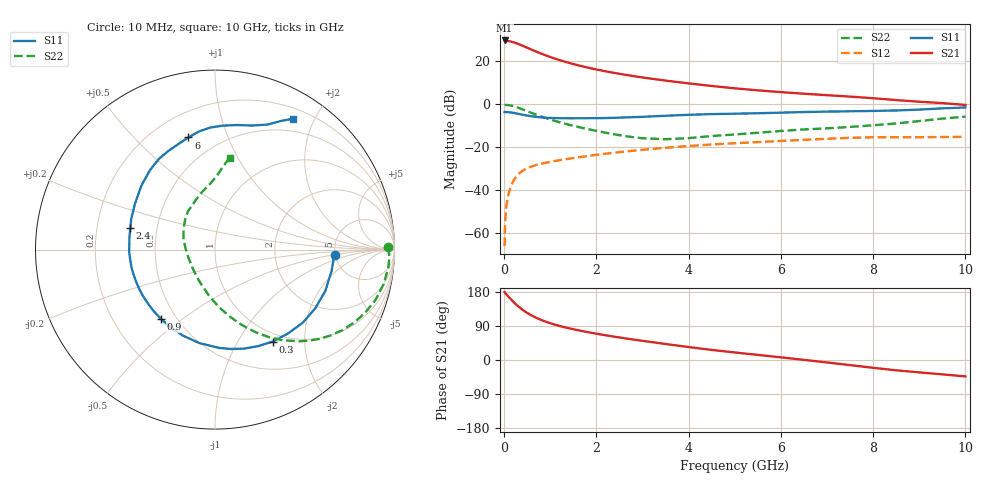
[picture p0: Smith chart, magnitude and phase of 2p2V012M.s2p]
! (c) 2009  Infineon Technologies AG, Munich
! Infineon Technologies  Discrete & RF Semiconductors
! BFP420
! VCE =  2.0 V,  IC =  12 mA
! Common Emitter S-Parameters:  Nov 2009
# GHz  S  MA  R  50
!  f  S11  S21  S12  S22
! GHz  MAG  ANG  MAG  ANG  MAG  ANG  MAG  ANG
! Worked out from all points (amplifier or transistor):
!   46 points, 10 MHz to 10 GHz, reference 50 ohm
!   highest |S21| = 29.8 dB at 10 MHz (marker M1)
!   |S21| within 3 dB of that: start of sweep to 458.1 MHz
!   unconditionally stable (mu >= 1): start of sweep to 10.19 MHz; 2.185 GHz to end of sweep
!   at 300 MHz: K = 0.21, MSG = 30.5 dB, |S12| = -32.7 dB
!   at 1.7 GHz: K = 0.87, MSG = 21.0 dB, |S12| = -24.4 dB
!   at 10 GHz: K = 1.08, MAG = 5.7 dB, |S12| = -15.1 dB
!   lowest NFmin = 0.95 dB at 900 MHz
!   S11 on the Smith chart (normalised r, x): 10 MHz: 4.94, -0.58; 300 MHz: 0.88, -1.42; 900 MHz: 0.41, -0.42; 2.4 GHz: 0.35, +0.11; 6 GHz: 0.34, +0.73; 10 GHz: 0.33, +1.71
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0.01  0.6673 -2.8  30.82 179.2  0.0005 106.4  0.9651 0.8
0.02  0.6636 -4.0  30.14 177.2  0.0018 89.0  0.9721 -2.1
0.05  0.6604 -10.3  30.06 173.0  0.0045 85.2  0.9715 -5.7
0.1  0.6564 -20.6  29.72 166.3  0.0086 81.2  0.9592 -11.6
0.15  0.6473 -30.4  28.96 159.7  0.0128 76.8  0.9375 -17.3
0.25  0.6195 -49.0  26.8 147.6  0.02 69.3  0.8761 -27.6
0.3  0.6051 -57.8  25.68 142.2  0.0231 65.9  0.8398 -32.3
0.35  0.5891 -65.9  24.45 137.2  0.0259 63.0  0.8025 -36.6
0.45  0.5611 -80.7  22.01 128.2  0.0306 58.1  0.7291 -44.1
0.6  0.5281 -99.6  18.74 117.1  0.036 52.9  0.6298 -53.3
0.7  0.5116 -110.3  16.88 111.1  0.0389 50.6  0.5736 -58.3
0.9  0.4898 -127.8  13.89 101.2  0.0438 47.5  0.4826 -66.7
1.2  0.4772 -147.7  10.77 89.9  0.0502 45.2  0.3848 -77.2
1.7  0.4752 -171.2  7.683 76.2  0.0605 43.0  0.2829 -92.3
2.4  0.4871 165.6  5.377 61.4  0.0753 39.6  0.2001 -114.8
3.5  0.5438 138.9  3.581 42.2  0.0976 32.5  0.1546 -162.0
4.5  0.5943 121.6  2.685 26.6  0.1164 24.5  0.1831 162.8
5.5  0.6222 109.3  2.124 13.5  0.1327 16.8  0.2187 142.0
6  0.6422 103.3  1.932 7.0  0.1409 13.0  0.2404 133.2
7  0.68 92.4  1.638 -6.5  0.1583 4.2  0.277 117.5
8.5  0.722 73.2  1.262 -27.2  0.1721 -12.0  0.3605 95.4
10  0.8486 59.2  0.972 -43.3  0.1756 -22.6  0.5184 80.9
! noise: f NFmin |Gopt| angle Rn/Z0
0.9  0.95  0.03  -151  0.13
1.8  1.27  0.13  -152  0.12
2.4  1.38  0.13  -160  0.14
3  1.43  0.22  -145  0.13
4  1.58  0.35  -123  0.17
5  2.03  0.43  -103  0.28
6  2.4  0.47  -91  0.43
